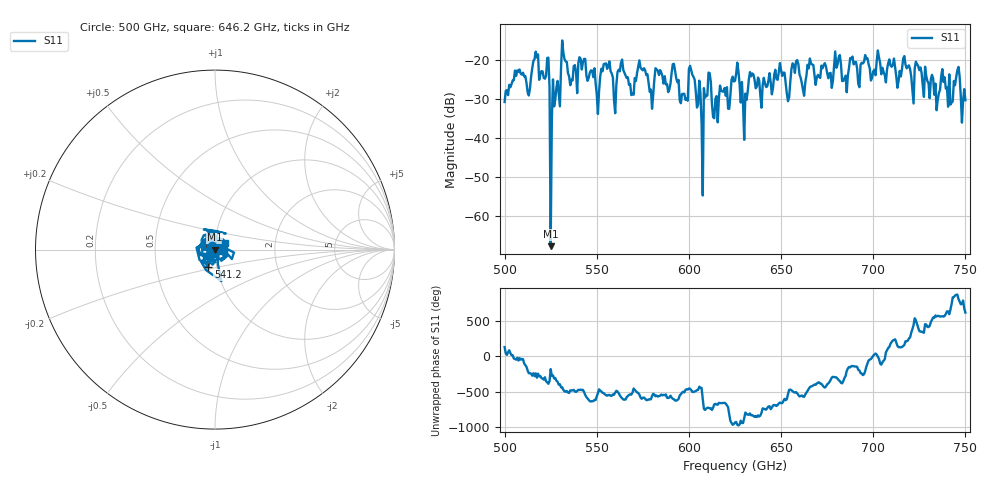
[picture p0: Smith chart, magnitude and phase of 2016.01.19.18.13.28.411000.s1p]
!Created with skrf (http://scikit-rf.org).
# GHz S RI R 50.0
!freq ReS11 ImS11
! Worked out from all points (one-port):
!   401 points, 500 GHz to 750 GHz, reference 50 ohm
!   lowest |S11| = -67.8 dB at 525 GHz (marker M1), VSWR 1.00, Z = 50 + j0.00162 ohm
!   |S11| at or under -10 dB: start of sweep to end of sweep
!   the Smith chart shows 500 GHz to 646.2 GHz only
!   S11 on the Smith chart (normalised r, x): 500 GHz: 0.96, +0.04; 541.2 GHz: 0.91, -0.18; 646.2 GHz: 1.11, +0.08
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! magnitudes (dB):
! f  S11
! 500 GHz  -30.8
! 506.9 GHz  -22.6
! 513.1 GHz  -29.1
! 516.9 GHz  -17.8
! 523.1 GHz  -19.4
! 525 GHz  -67.8
! 526.2 GHz  -25.0
! 526.9 GHz  -31.9
! 531.2 GHz  -14.9
! 541.2 GHz  -19.7
! 550.6 GHz  -33.8
! 562.5 GHz  -22.9
! 568.8 GHz  -29.0
! 573.8 GHz  -21.9
! 593.8 GHz  -25.7
! 598.1 GHz  -30.2
! 601.2 GHz  -22.6
! 608.1 GHz  -27.2
! 610.6 GHz  -23.2
! 614.4 GHz  -29.9
! 625 GHz  -25.3
! 630.6 GHz  -28.6
! 633.8 GHz  -24.1
! 646.2 GHz  -23.8
! 656.2 GHz  -20.8
! 687.5 GHz  -19.4
! 718.8 GHz  -21.7
! 750 GHz  -30.3
